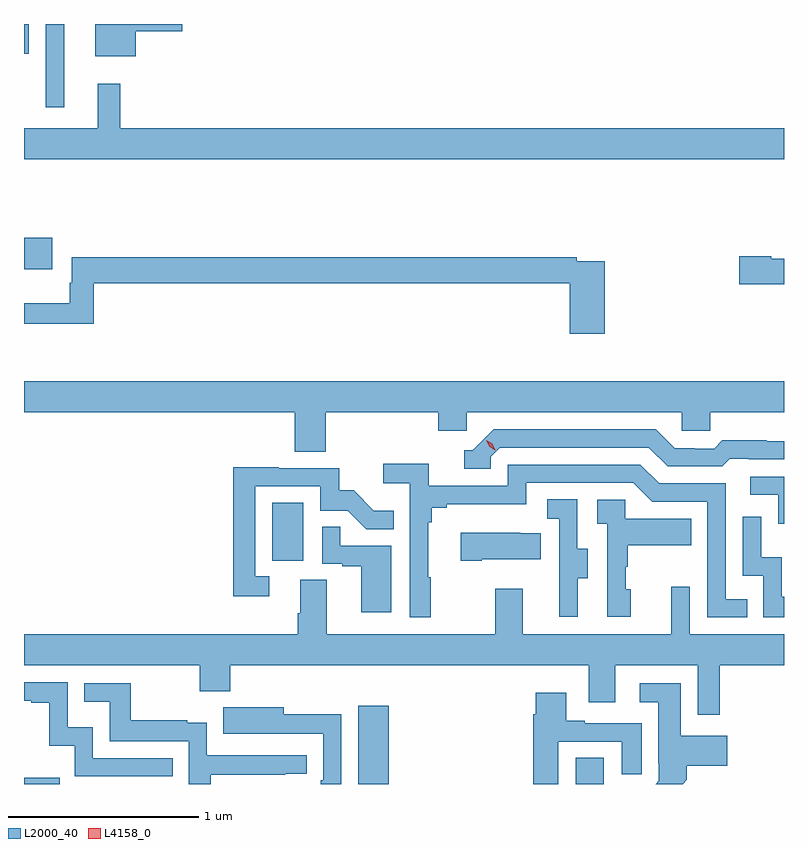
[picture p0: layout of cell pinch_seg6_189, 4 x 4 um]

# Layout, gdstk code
import gdstk
lib = gdstk.Library(unit=1e-6, precision=1e-09)
def R(c, l, rs):  # rectangles x0, y0, x1, y1
    for r in rs: c.add(gdstk.rectangle(r[:2], r[2:], *l))
def P(c, l, *ps):  # polygons
    for p in ps: c.add(gdstk.Polygon(p, *l))
L2000_40 = (2000, 40)
L4158_0 = (4158, 0)

pinch_seg6_189 = lib.new_cell('pinch_seg6_189')
R(pinch_seg6_189, L2000_40, [(1042.689,928.064,1042.876,928.096), (1044.449,928.064,1044.61,928.477), (1045.592,928.064,1045.741,928.202), (1043.996,929.238,1044.16,929.545), (1042.689,930.773,1042.837,930.939), (1042.803,931.626,1042.9,932.064), (1042.689,931.907,1042.714,932.064)])
P(pinch_seg6_189, L2000_40, [(1043.278,932.027),(1043.521,932.027),(1043.521,932.064),(1043.063,932.064),(1043.063,931.895),(1043.278,931.895)],
  [(1046.689,931.516),(1043.195,931.516),(1043.195,931.75),(1043.078,931.75),(1043.078,931.516),(1042.689,931.516),(1042.689,931.352),(1046.689,931.352)],
  [(1046.689,930.829),(1046.621,930.829),(1046.621,930.842),(1046.454,930.842),(1046.454,930.695),(1046.689,930.695)],
  [(1045.745,930.816),(1045.598,930.816),(1045.598,930.836),(1042.941,930.836),(1042.941,930.702),(1042.929,930.702),(1042.929,930.595),(1042.689,930.595),(1042.689,930.486),(1043.057,930.486),(1043.057,930.7),(1045.562,930.7),(1045.562,930.435),(1045.745,930.435)],
  [(1044.278,930.02),(1044.869,930.02),(1044.869,929.922),(1045.02,929.922),(1045.02,930.02),(1046.151,930.02),(1046.151,929.922),(1046.301,929.922),(1046.301,930.02),(1046.689,930.02),(1046.689,930.184),(1042.689,930.184),(1042.689,930.02),(1044.113,930.02),(1044.113,929.812),(1044.278,929.812)],
  [(1045.146,929.787),(1045.194,929.835),(1045.977,929.835),(1046.076,929.736),(1046.365,929.736),(1046.404,929.775),(1046.503,929.775),(1046.503,929.772),(1046.689,929.772),(1046.689,929.869),(1046.598,929.869),(1046.598,929.872),(1046.365,929.872),(1046.323,929.829),(1046.22,929.829),(1046.22,929.832),(1046.113,929.832),(1046.014,929.931),(1045.161,929.931),(1045.05,929.82),(1045.007,929.82),(1045.007,929.724),(1045.146,929.724)],
  [(1044.829,929.153),(1044.817,929.153),(1044.817,929.441),(1044.836,929.441),(1044.836,929.518),(1044.913,929.518),(1044.913,929.537),(1045.332,929.537),(1045.332,929.649),(1045.896,929.649),(1045.995,929.55),(1046.286,929.55),(1046.286,928.941),(1046.495,928.941),(1046.495,929.037),(1046.382,929.037),(1046.382,929.646),(1046.032,929.646),(1045.933,929.745),(1045.236,929.745),(1045.236,929.634),(1044.818,929.634),(1044.818,929.75),(1044.579,929.75),(1044.579,929.648),(1044.72,929.648),(1044.72,928.941),(1044.829,928.941)],
  [(1043.98,929.157),(1043.907,929.157),(1043.907,929.631),(1044.249,929.631),(1044.249,929.502),(1044.393,929.502),(1044.491,929.404),(1044.635,929.404),(1044.635,929.503),(1044.531,929.503),(1044.424,929.61),(1044.348,929.61),(1044.348,929.727),(1044.029,929.727),(1044.029,929.732),(1043.791,929.732),(1043.791,929.052),(1043.98,929.052)],
  [(1046.689,929.682),(1046.511,929.682),(1046.511,929.586),(1046.658,929.586),(1046.658,929.433),(1046.689,929.433)],
  [(1045.603,929.146),(1045.657,929.146),(1045.657,929.301),(1045.602,929.301),(1045.602,929.564),(1045.443,929.564),(1045.443,929.461),(1045.506,929.461),(1045.506,929.157),(1045.505,929.157),(1045.505,928.944),(1045.603,928.944)],
  [(1045.882,929.088),(1045.857,929.088),(1045.857,929.207),(1045.867,929.207),(1045.867,929.321),(1046.201,929.321),(1046.201,929.461),(1045.854,929.461),(1045.854,929.559),(1045.707,929.559),(1045.707,929.435),(1045.758,929.435),(1045.758,928.944),(1045.882,928.944)],
  [(1046.689,929.05),(1046.678,929.05),(1046.678,929.258),(1046.568,929.258),(1046.568,929.47),(1046.472,929.47),(1046.472,929.16),(1046.58,929.16),(1046.58,928.941),(1046.689,928.941)],
  [(1044.622,929.319),(1044.353,929.319),(1044.353,929.417),(1044.258,929.417),(1044.258,929.223),(1044.365,929.223),(1044.365,929.211),(1044.464,929.211),(1044.464,928.968),(1044.622,928.968)],
  [(1045.099,929.246),(1045.409,929.246),(1045.409,929.383),(1045.301,929.383),(1045.301,929.386),(1044.987,929.386),(1044.987,929.239),(1045.099,929.239)],
  [(1046.351,928.688),(1046.689,928.688),(1046.689,928.852),(1046.193,928.852),(1046.193,929.101),(1046.096,929.101),(1046.096,928.852),(1045.315,928.852),(1045.315,929.092),(1045.168,929.092),(1045.168,928.852),(1044.283,928.852),(1044.283,929.138),(1044.143,929.138),(1044.143,928.964),(1044.131,928.964),(1044.131,928.852),(1042.689,928.852),(1042.689,928.688),(1043.614,928.688),(1043.614,928.553),(1043.774,928.553),(1043.774,928.688),(1045.661,928.688),(1045.661,928.494),(1045.801,928.494),(1045.801,928.688),(1046.235,928.688),(1046.235,928.428),(1046.351,928.428)],
  [(1043.471,928.2),(1043.052,928.2),(1043.052,928.363),(1042.92,928.363),(1042.92,928.599),(1042.689,928.599),(1042.689,928.503),(1042.727,928.503),(1042.727,928.491),(1042.823,928.491),(1042.823,928.265),(1042.956,928.265),(1042.956,928.104),(1043.471,928.104)],
  [(1046.177,928.086),(1046.177,928.16),(1046.389,928.16),(1046.389,928.318),(1046.146,928.318),(1046.146,928.594),(1045.929,928.594),(1045.929,928.493),(1046.027,928.493),(1046.027,928.174),(1046.031,928.174),(1046.031,928.08),(1046.015,928.064),(1046.155,928.064)],
  [(1043.672,928.114),(1044.065,928.114),(1044.065,928.119),(1044.178,928.119),(1044.178,928.215),(1043.652,928.215),(1043.652,928.387),(1043.549,928.387),(1043.549,928.399),(1043.251,928.399),(1043.251,928.593),(1043.005,928.593),(1043.005,928.496),(1043.14,928.496),(1043.14,928.29),(1043.556,928.29),(1043.556,928.064),(1043.672,928.064)],
  [(1045.501,928.287),(1045.835,928.287),(1045.835,928.116),(1045.939,928.116),(1045.939,928.383),(1045.639,928.383),(1045.639,928.396),(1045.543,928.396),(1045.543,928.543),(1045.382,928.543),(1045.382,928.43),(1045.37,928.43),(1045.37,928.064),(1045.501,928.064)],
  [(1044.36,928.43),(1044.055,928.43),(1044.055,928.468),(1043.737,928.468),(1043.737,928.328),(1043.951,928.328),(1043.951,928.329),(1044.264,928.329),(1044.264,928.084),(1044.251,928.084),(1044.251,928.064),(1044.36,928.064)])
P(pinch_seg6_189, L4158_0, [(1045.17,929.821),(1045.139,929.84),(1045.122,929.872),(1045.122,929.873),(1045.122,929.873),(1045.153,929.854),(1045.17,929.821),(1045.17,929.821)])

lib.write_gds('pinch_seg6_189.gds')
